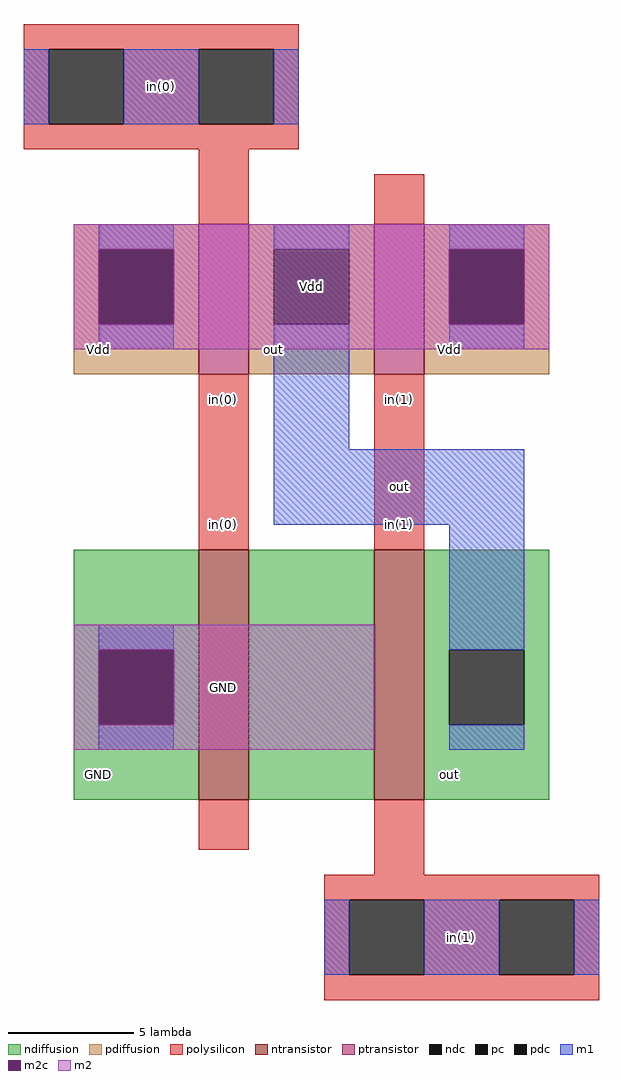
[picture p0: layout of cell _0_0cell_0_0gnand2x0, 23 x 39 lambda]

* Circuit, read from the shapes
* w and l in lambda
.subckt _0_0cell_0_0gnand2x0 GND in(0) in(1)
M1 n1 in(0) GND VSUBS nfet w=10 l=2
M2 out in(1) n1 VSUBS nfet w=10 l=2
M3 out in(0) Vdd NWELL pfet w=6 l=2
M4 Vdd in(1) out NWELL pfet w=6 l=2
.ends

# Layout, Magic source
magic
tech sky130l
<< ndiffusion >>
rect 8 12 13 16
rect 8 9 9 12
rect 12 9 13 12
rect 8 6 13 9
rect 15 6 20 16
rect 22 12 27 16
rect 22 9 23 12
rect 26 9 27 12
rect 22 6 27 9
<< ndc >>
rect 9 9 12 12
rect 23 9 26 12
<< ntransistor >>
rect 13 6 15 16
rect 20 6 22 16
<< pdiffusion >>
rect 8 28 13 29
rect 8 25 9 28
rect 12 25 13 28
rect 8 23 13 25
rect 15 28 20 29
rect 15 25 16 28
rect 19 25 20 28
rect 15 23 20 25
rect 22 28 27 29
rect 22 25 23 28
rect 26 25 27 28
rect 22 23 27 25
<< pdc >>
rect 9 25 12 28
rect 16 25 19 28
rect 23 25 26 28
<< ptransistor >>
rect 13 23 15 29
rect 20 23 22 29
<< polysilicon >>
rect 6 36 17 37
rect 6 33 7 36
rect 10 33 13 36
rect 16 33 17 36
rect 6 32 17 33
rect 13 29 15 32
rect 20 29 22 31
rect 13 16 15 23
rect 20 16 22 23
rect 13 4 15 6
rect 20 3 22 6
rect 18 2 29 3
rect 18 -1 19 2
rect 22 -1 25 2
rect 28 -1 29 2
rect 18 -2 29 -1
<< pc >>
rect 7 33 10 36
rect 13 33 16 36
rect 19 -1 22 2
rect 25 -1 28 2
<< m1 >>
rect 6 33 7 36
rect 10 33 13 36
rect 16 33 17 36
rect 9 28 12 29
rect 9 24 12 25
rect 16 28 19 29
rect 16 20 19 25
rect 23 28 26 29
rect 23 24 26 25
rect 16 17 26 20
rect 9 12 12 13
rect 9 8 12 9
rect 23 12 26 17
rect 23 8 26 9
rect 18 -1 19 2
rect 22 -1 25 2
rect 28 -1 29 2
<< m2c >>
rect 9 25 12 28
rect 23 25 26 28
rect 9 9 12 12
<< m2 >>
rect 8 28 27 29
rect 8 25 9 28
rect 12 25 23 28
rect 26 25 27 28
rect 8 24 27 25
rect 8 12 20 13
rect 8 9 9 12
rect 12 9 20 12
rect 8 8 20 9
<< labels >>
rlabel ndiffusion 23 7 23 7 3 out
rlabel pdiffusion 23 24 23 24 3 Vdd
rlabel polysilicon 21 17 21 17 3 in(1)
rlabel polysilicon 21 22 21 22 3 in(1)
rlabel pdiffusion 16 24 16 24 3 out
rlabel polysilicon 14 17 14 17 3 in(0)
rlabel polysilicon 14 22 14 22 3 in(0)
rlabel ndiffusion 9 7 9 7 3 GND
rlabel pdiffusion 9 24 9 24 3 Vdd
flabel m2 8 24 27 29 0 FreeSans 11 0 0 0 Vdd
flabel m2 8 8 20 13 0 FreeSans 11 0 0 0 GND
port 2 nsew
flabel m1 6 33 17 36 0 FreeSans 11 0 0 0 in(0)
port 3 nsew
flabel m1 18 -1 29 2 0 FreeSans 11 0 0 0 in(1)
port 4 nsew
flabel m1 16 17 26 20 0 FreeSans 11 0 0 0 out
<< end >>
